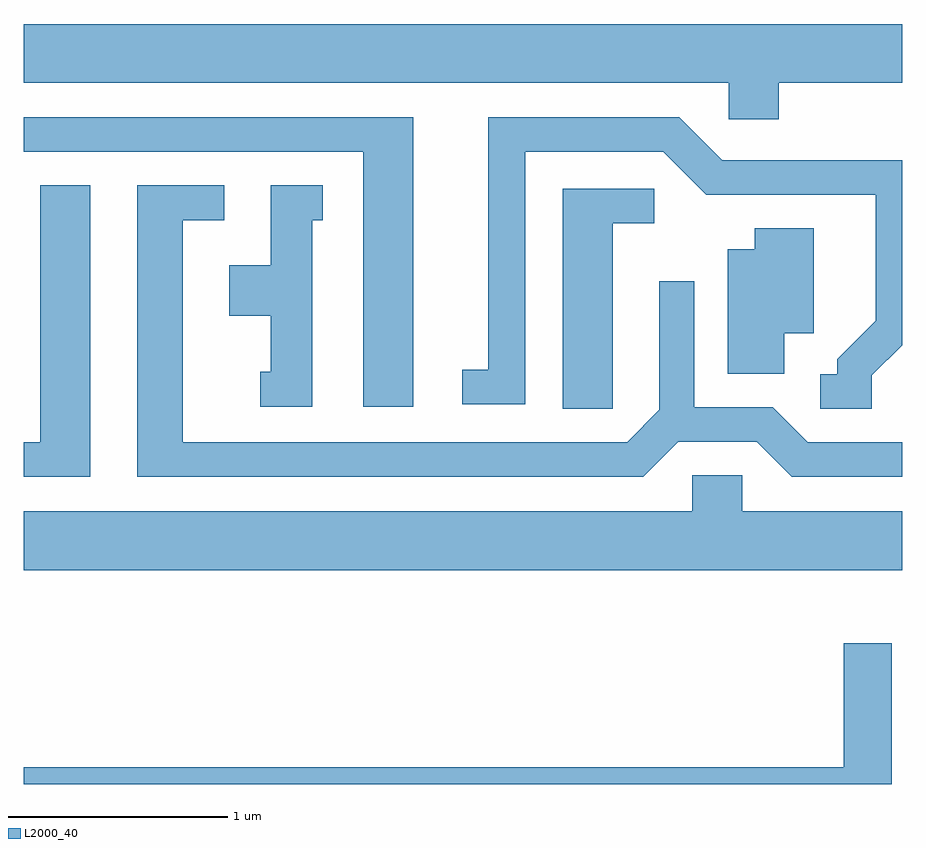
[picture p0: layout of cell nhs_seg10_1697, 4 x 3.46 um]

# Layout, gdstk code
import gdstk
lib = gdstk.Library(unit=1e-6, precision=1e-09)
def P(c, l, *ps):  # polygons
    for p in ps: c.add(gdstk.Polygon(p, *l))
L2000_40 = (2000, 40)

nhs_seg10_1697 = lib.new_cell('nhs_seg10_1697')
P(nhs_seg10_1697, L2000_40, [(239.049,2091.716),(239.611,2091.716),(239.611,2091.984),(235.611,2091.984),(235.611,2091.716),(238.821,2091.716),(238.821,2091.551),(239.049,2091.551)],
  [(239.474,2090.384),(239.611,2090.52),(239.611,2091.364),(238.792,2091.364),(238.597,2091.559),(237.726,2091.559),(237.726,2090.409),(237.608,2090.409),(237.608,2090.251),(237.894,2090.251),(237.894,2091.401),(238.524,2091.401),(238.719,2091.206),(239.491,2091.206),(239.491,2090.632),(239.316,2090.457),(239.316,2090.389),(239.238,2090.389),(239.238,2090.231),(239.474,2090.231)],
  [(237.384,2091.559),(235.611,2091.559),(235.611,2091.401),(237.156,2091.401),(237.156,2090.241),(237.384,2090.241)],
  [(238.592,2090.081),(238.949,2090.081),(239.109,2089.921),(239.611,2089.921),(239.611,2090.079),(239.182,2090.079),(239.022,2090.239),(238.664,2090.239),(238.664,2090.813),(238.506,2090.813),(238.506,2090.227),(238.359,2090.079),(236.334,2090.079),(236.334,2091.091),(236.523,2091.091),(236.523,2091.249),(236.126,2091.249),(236.126,2089.921),(238.432,2089.921)],
  [(235.914,2091.249),(235.686,2091.249),(235.686,2090.079),(235.611,2090.079),(235.611,2089.921),(235.914,2089.921)],
  [(236.924,2091.091),(236.973,2091.091),(236.973,2091.249),(236.736,2091.249),(236.736,2090.884),(236.546,2090.884),(236.546,2090.656),(236.736,2090.656),(236.736,2090.399),(236.688,2090.399),(236.688,2090.241),(236.924,2090.241)],
  [(238.294,2091.076),(238.483,2091.076),(238.483,2091.234),(238.066,2091.234),(238.066,2090.231),(238.294,2090.231)],
  [(239.074,2090.576),(239.209,2090.576),(239.209,2091.054),(238.941,2091.054),(238.941,2090.959),(238.816,2090.959),(238.816,2090.391),(239.074,2090.391)],
  [(239.611,2089.764),(238.884,2089.764),(238.884,2089.929),(238.656,2089.929),(238.656,2089.764),(235.611,2089.764),(235.611,2089.496),(239.611,2089.496)],
  [(239.564,2089.164),(239.346,2089.164),(239.346,2088.599),(235.611,2088.599),(235.611,2088.522),(239.564,2088.522)])

lib.write_gds('nhs_seg10_1697.gds')
